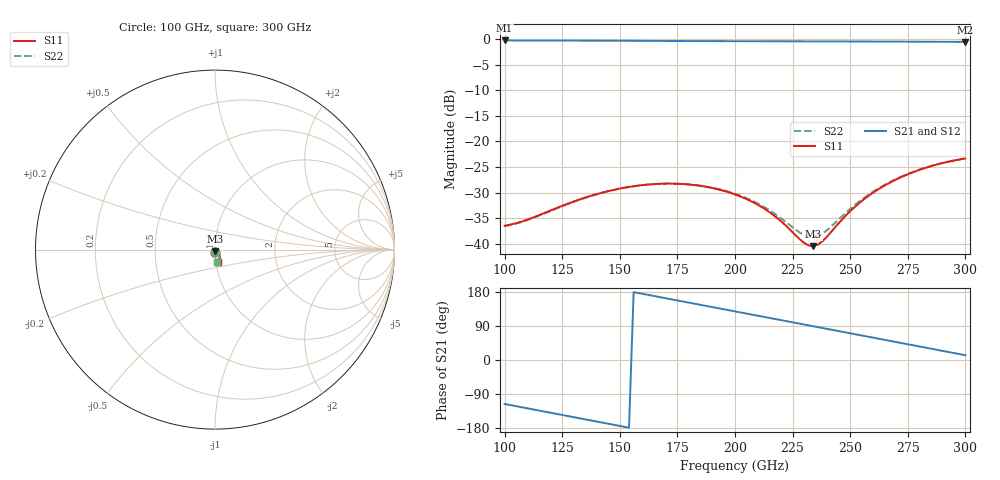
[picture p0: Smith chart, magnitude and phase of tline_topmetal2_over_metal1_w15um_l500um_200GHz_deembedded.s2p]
! Created with skrf 2.2.0 (http://scikit-rf.org).
# GHz S DB R 50.0
! Port[1] = P1
! Port[2] = P2
!freq dBS11 angS11 dBS21 angS21 dBS12 angS12 dBS22 angS22
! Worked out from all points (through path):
!   101 points, 100 GHz to 300 GHz, reference 50 ohm
!   highest |S21| = -0.27 dB at 100 GHz (marker M1); lowest = -0.5 dB at 300 GHz (marker M2)
!   group delay of S21, straight-line fit = 3.21 ps
!   lowest |S11| = -40.4 dB at 234 GHz (marker M3), VSWR 1.02, Z = 50 - j0.95 ohm
!   |S11| at or under -10 dB: start of sweep to end of sweep
!   |S22| runs from -38.7 to -23.3 dB; largest |S21 - S12| = 1.1e-14
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100  -36.44 -79.5  -0.27 -116.1  -0.27 -116.1  -36.49 -79.6
108  -35.55 -73.0  -0.28 -125.4  -0.28 -125.4  -35.62 -72.8
118  -33.84 -69.3  -0.29 -136.9  -0.29 -136.9  -33.90 -68.8
134  -31.10 -73.3  -0.31 -155.5  -0.31 -155.5  -31.15 -72.4
144  -29.80 -79.6  -0.33 -167.0  -0.33 -167.0  -29.83 -78.5
152  -29.03 -85.9  -0.34 -176.3  -0.34 -176.3  -29.04 -84.7
160  -28.51 -92.8  -0.35 174.4  -0.35 174.4  -28.51 -91.4
168  -28.25 -100.1  -0.37 165.2  -0.37 165.2  -28.25 -98.5
184  -28.61 -114.9  -0.39 146.7  -0.39 146.7  -28.57 -112.7
200  -30.33 -127.8  -0.42 128.3  -0.42 128.3  -30.22 -124.6
210  -32.38 -132.9  -0.43 116.8  -0.43 116.8  -32.15 -128.8
218  -34.83 -132.8  -0.44 107.5  -0.44 107.5  -34.36 -127.5
230  -39.80 -108.7  -0.45 93.6  -0.45 93.6  -38.28 -104.6
234  -40.44 -88.3  -0.45 89.0  -0.45 89.0  -38.68 -88.5
236  -40.14 -77.7  -0.45 86.7  -0.45 86.7  -38.45 -80.1
240  -38.54 -60.6  -0.46 82.1  -0.46 82.1  -37.29 -65.8
248  -34.51 -45.9  -0.47 72.8  -0.47 72.8  -33.98 -51.2
254  -32.00 -44.1  -0.48 65.8  -0.48 65.8  -31.70 -48.5
260  -29.98 -45.6  -0.48 58.9  -0.48 58.9  -29.80 -49.2
268  -27.86 -50.2  -0.50 49.6  -0.50 49.6  -27.76 -53.0
284  -24.97 -63.1  -0.52 31.1  -0.52 31.1  -24.93 -64.9
300  -23.32 -78.2  -0.55 12.6  -0.55 12.6  -23.31 -79.4
